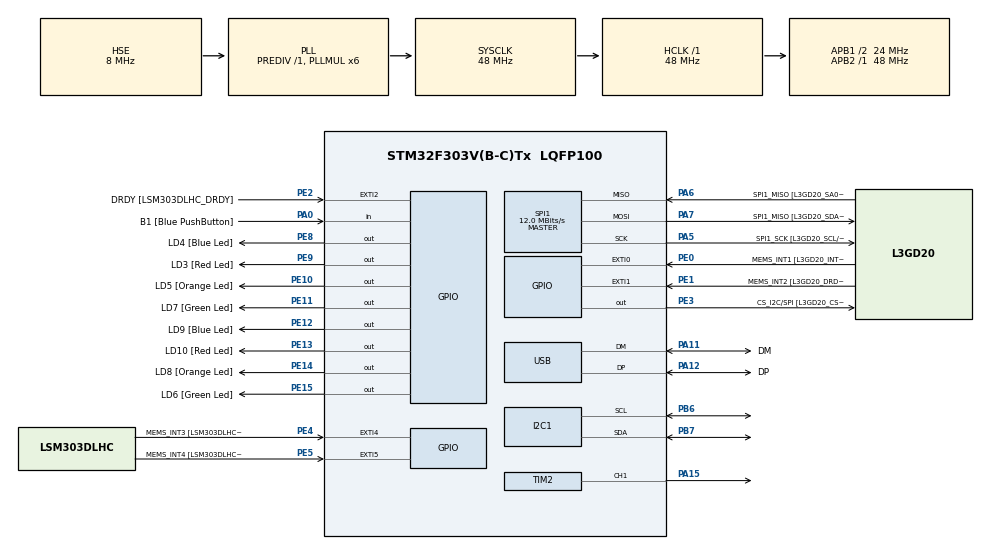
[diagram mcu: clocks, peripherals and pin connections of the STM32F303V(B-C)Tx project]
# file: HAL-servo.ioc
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I2C1.Timing=0x00201D2B
Mcu.Family=STM32F3
Mcu.Name=STM32F303V(B-C)Tx
Mcu.Package=LQFP100
NVIC.PriorityGroup=NVIC_PRIORITYGROUP_0
PA0.GPIO_Label=B1 [Blue PushButton]
PA0.Signal=GPIO_Input
PA11.GPIO_Label=DM
PA11.Mode=Device
PA11.Signal=USB_DM
PA12.GPIO_Label=DP
PA12.Mode=Device
PA12.Signal=USB_DP
PA13.GPIO_Label=SWDIO
PA13.Mode=Serial_Wire
PA13.Signal=SYS_JTMS-SWDIO
PA14.GPIO_Label=SWCLK
PA14.Mode=Serial_Wire
PA14.Signal=SYS_JTCK-SWCLK
PA15.Signal=S_TIM2_CH1_ETR
PA5.GPIO_Label=SPI1_SCK [L3GD20_SCL/SPC]
PA5.Mode=Full_Duplex_Master
PA5.Signal=SPI1_SCK
PA6.GPIO_Label=SPI1_MISO [L3GD20_SA0/SDO]
PA6.Mode=Full_Duplex_Master
PA6.Signal=SPI1_MISO
PA7.GPIO_Label=SPI1_MISO [L3GD20_SDA/SDI/SDO]
PA7.Mode=Full_Duplex_Master
PA7.Signal=SPI1_MOSI
PB3.GPIO_Label=SWO
PB3.Signal=SYS_JTDO-TRACESWO
PB6.Mode=I2C
PB6.Signal=I2C1_SCL
PB7.Mode=I2C
PB7.Signal=I2C1_SDA
PC14-OSC32_IN.GPIO_Label=OSC32_IN
PC14-OSC32_IN.Signal=RCC_OSC32_IN
PC15-OSC32_OUT.GPIO_Label=OSC32_OUT
PC15-OSC32_OUT.Signal=RCC_OSC32_OUT
PE0.GPIO_Label=MEMS_INT1 [L3GD20_INT1]
PE0.GPIO_ModeDefaultEXTI=GPIO_MODE_EVT_RISING
PE0.Signal=GPXTI0
PE1.GPIO_Label=MEMS_INT2 [L3GD20_DRDY/INT2]
PE1.GPIO_ModeDefaultEXTI=GPIO_MODE_EVT_RISING
PE1.Signal=GPXTI1
PE10.GPIO_Label=LD5 [Orange Led]
PE10.Signal=GPIO_Output
PE11.GPIO_Label=LD7 [Green Led]
PE11.Signal=GPIO_Output
PE12.GPIO_Label=LD9 [Blue Led]
PE12.Signal=GPIO_Output
PE13.GPIO_Label=LD10 [Red Led]
PE13.Signal=GPIO_Output
PE14.GPIO_Label=LD8 [Orange Led]
PE14.Signal=GPIO_Output
PE15.GPIO_Label=LD6 [Green Led]
PE15.Signal=GPIO_Output
PE2.GPIO_Label=DRDY [LSM303DLHC_DRDY]
PE2.GPIO_ModeDefaultEXTI=GPIO_MODE_EVT_RISING
PE2.Signal=GPXTI2
PE3.GPIO_Label=CS_I2C/SPI [L3GD20_CS_I2C/SPI]
PE3.Signal=GPIO_Output
PE4.GPIO_Label=MEMS_INT3 [LSM303DLHC_INT1]
PE4.GPIO_ModeDefaultEXTI=GPIO_MODE_EVT_RISING
PE4.Signal=GPXTI4
PE5.GPIO_Label=MEMS_INT4 [LSM303DLHC_INT2]
PE5.GPIO_ModeDefaultEXTI=GPIO_MODE_EVT_RISING
PE5.Signal=GPXTI5
PE8.GPIO_Label=LD4 [Blue Led]
PE8.Signal=GPIO_Output
PE9.GPIO_Label=LD3 [Red Led]
PE9.Signal=GPIO_Output
PF0-OSC_IN.GPIO_Label=OSC_IN
PF0-OSC_IN.Mode=HSE-External-Clock-Source
PF0-OSC_IN.Signal=RCC_OSC_IN
PF1-OSC_OUT.GPIO_Label=OSC_OUT
PF1-OSC_OUT.Signal=RCC_OSC_OUT
ProjectManager.HeapSize=0x200
ProjectManager.StackSize=0x400
ProjectManager.TargetToolchain=STM32CubeIDE
RCC.AHBFreq_Value=48000000
RCC.APB1CLKDivider=RCC_HCLK_DIV2
RCC.APB1Freq_Value=24000000
RCC.APB1TimFreq_Value=48000000
RCC.APB2Freq_Value=48000000
RCC.APB2TimFreq_Value=48000000
RCC.CortexFreq_Value=48000000
RCC.HCLKFreq_Value=48000000
RCC.HSE_VALUE=8000000
RCC.HSI_VALUE=8000000
RCC.LSE_VALUE=32768
RCC.PLLMUL=RCC_PLL_MUL6
RCC.SYSCLKFreq_VALUE=48000000
RCC.SYSCLKSourceVirtual=RCC_SYSCLKSOURCE_PLLCLK
RCC.USBFreq_Value=48000000
SH.S_TIM2_CH1_ETR.0=TIM2_CH1,PWM Generation1 CH1
SPI1.BaudRatePrescaler=SPI_BAUDRATEPRESCALER_4
SPI1.BaudRatePrescaler-Full_Duplex_Master=SPI_BAUDRATEPRESCALER_2
SPI1.CalculateBaudRate=12.0 MBits/s
SPI1.CalculateBaudRate-Full_Duplex_Master=24.0 MBits/s
SPI1.Direction=SPI_DIRECTION_2LINES
SPI1.Mode=SPI_MODE_MASTER
SPI1.Mode-Full_Duplex_Master=SPI_MODE_MASTER
SPI1.VirtualType=VM_MASTER
TIM2.Channel-PWM\ Generation1\ CH1=TIM_CHANNEL_1
TIM2.Prescaler=23
board=STM32F3DISCOVERY

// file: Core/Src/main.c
/* USER CODE BEGIN Header */
/**
  ******************************************************************************
  * @file           : main.c
  * @brief          : Main program body
  ******************************************************************************
  * @attention
  *
  * Copyright (c) 2025 STMicroelectronics.
  * All rights reserved.
  *
  * This software is licensed under terms that can be found in the LICENSE file
  * in the root directory of this software component.
  * If no LICENSE file comes with this software, it is provided AS-IS.
  *
  ******************************************************************************
  */
/* USER CODE END Header */
#include "main.h"

/* USER CODE BEGIN Includes */

#include "math.h"
#include <stdint.h>
#include <stdlib.h>
#include <stdio.h>
#include <stdbool.h>
#include <string.h>

// Noah's files
#include "stm32f303xc.h"
#include "midi_note_data.h"
#include "servo_driver_obj.h"
#include "door_obj.h"
#include "door_manager_obj.h"
#include "utils.h"
#include "GPIO.h"

// Josh's files
#include "gpio_new.h"
#include "serial_josh.h"
#include "structs.h"
#include "timer_josh.h"
/* USER CODE END Includes */

I2C_HandleTypeDef hi2c1;

SPI_HandleTypeDef hspi1;

TIM_HandleTypeDef htim2;

PCD_HandleTypeDef hpcd_USB_FS;

void SystemClock_Config(void);
static void MX_GPIO_Init(void);
static void MX_I2C1_Init(void);
static void MX_SPI1_Init(void);
static void MX_USB_PCD_Init(void);
static void MX_TIM2_Init(void);

/* USER CODE BEGIN 0 */

// =================================== Global Variables ====================================
volatile int last_servo_selection = -1;
volatile int last_servo_angle = -1;

// --- Game State Variables ---
GameState game = {
    .correct_servos = {1, 3, 4, 6}, // do not use servo number 0
    .items_found = 0,
    .items_left_to_find = 4,
    .digs_taken = 0,
    .digs_remaining = 4,
    .peeks_used = 0,
    .game_time_remaining = 240,
    .game_over = 1,
    .total_items_to_find = 0
};

GameTriggers triggers = {
    .touchpad_pressed = -1,
    .magnet1_det = 0,
    .magnet2_det = 0,
    .servo_controlled = -1,
    .servo_angle = 0,
    .trimpot_value = 0,
    .peek_threshold = 10,
    .pending_peek = 0
};

doorManagerObj *manager;

// =================================== Game Functions ====================================
// Prints via UART game state
void transmit_game_state() {
    char buffer[64];
    sprintf(buffer, "DIGS REMAINING:%d TREASURES:%d\r\n\n", game.digs_remaining, game.items_left_to_find);
    serial_output_string(buffer, &USART1_PORT);
}

// Timer callback
static void fn_a(const TimerSel sel, GameState *game) {
	game->game_time_remaining = game->game_time_remaining - 1;
    char buffer[64];
    sprintf(buffer, "TIME REMAINING:%d\r\n", game->game_time_remaining);
    serial_output_string(buffer, &USART1_PORT);
}

// --- Start Game Signal (from USART or button) ---
void start_game(GameState *game) {
	// Restart game state
    game->game_over = 0;
    game->game_time_remaining = 240;
    game->digs_remaining = 4;

    int count = 0;
    for (int i = 0; i < 6; i++) {
        if (game->correct_servos[i] != 0) {
            count++;
        }
    }
    game->total_items_to_find = count;

    // Reset all doors
    door_manager_reset(manager);

    // Init game timer
    timer_init();
    const TimerSel tim_a = TIMER_SEL_3;
    timer_prescaler_set(tim_a, 11999);
    timer_period_set(tim_a, 3999);
    timer_silent_set(tim_a, false);
    timer_recur_set(tim_a, true);
    timer_callback_set(tim_a, &fn_a);
    timer_enable_set(tim_a, true);

    serial_output_string("Game Started\r\n\n", &USART1_PORT);

    transmit_game_state();

}

// Game variable update function
void update_game_state(uint8_t result, GameState *game, GameTriggers *triggers) {
	// Update game state depending if successful dig
	if (result == 1) {
		game->items_found++;
		game->digs_remaining--;
		game->digs_taken--;
		game->items_left_to_find--;
		transmit_game_state();
	} else {
		game->digs_remaining--;
		game->digs_taken--;
		transmit_game_state();
	}
}

//Check for game over conditions
uint8_t check_game_over(GameState *game) {
    if (game->digs_remaining == 0 || game->game_time_remaining == 0 || game->items_left_to_find == 0) {
  	    const TimerSel tim_a = TIMER_SEL_3;

  	    if (game->items_left_to_find == 0) {
      	  	timer_enable_set(tim_a, false);

      		serial_output_string((char *) "You Win!\n", &USART1_PORT);

      	}
      	else {
      	  	timer_enable_set(tim_a, false);

      		serial_output_string((char *) "Game Over\n", &USART1_PORT);
      	}

      	display_number(0);
        game->game_over = 1;
        //timer_disable();
        return 1;
    }
    return 0;
}
/*
bool pad_dug[6] = { false };

...

if (pad_dug[triggers.servo_controlled]) {
    serial_output_string("Pad already dug\r\n", &USART1_PORT);
    return;
}

pad_dug[triggers.servo_controlled] = true;
*/
// =================================== Callback Functions ===================================

// Each EXTI handler calls this with the corresponding pin number
void handle_touch(uint8_t pad, GameTriggers *trigger) {
	display_number(pad);
	trigger->touchpad_pressed = pad;
}

// Transmit callback
void output_callback() {
	return;
}

// Receive callback
void input_callback(char *data, uint32_t len) {
	// Check for game start input
	char compare[] = "game start";
	uint16_t test = strcmp(data, compare);
	if (!test) {
		start_game(&game);
	}
}

/* USER CODE END 0 */

int main(void)
{

  /* MCU Configuration--------------------------------------------------------*/

  /* Reset of all peripherals, Initializes the Flash interface and the Systick. */
  HAL_Init();

  /* Configure the system clock */
  SystemClock_Config();

  /* Initialize all configured peripherals */
  MX_GPIO_Init();
  MX_I2C1_Init();
  MX_SPI1_Init();
  MX_USB_PCD_Init();
  MX_TIM2_Init();

  /* USER CODE BEGIN 2 */

  // =================================== Init ====================================
  // Serial Init
  serial_initialise(115200, &USART1_PORT, &output_callback, &input_callback);
  enable_interrupts(&USART1_PORT);

  // Touch Init
  initialise_touch();
  enable_touch_interrupts();
  touch_register_callback((touch_callback_t)handle_touch, &triggers);

  GPIO *pot = init_port(PORT_A, ANALOG, 4, 6);
  uint16_t analog_out[2];

/*
  initialise_touch();
  enable_touch_interrupts();
  touch_register_callback(&handle_touch);

  GPIO *pot = init_port(A, ANALOG, 4, 6);
  uint16_t analog_out[2];
*/

  //Init servo-driver
  servoDriverObj *driver = init_servo_driver(0x40);

  float master_angle = 0.0f;
  //manager was initialized eariler (for touch_pad handler to reference)
  manager = init_door_manager(8, &master_angle, driver, 8);

  //Servo ROM test
  door_manager_set_angle(manager, 0, 80.0f);
  door_manager_set_angle(manager, 1, 80.0f);
  door_manager_update(manager);
  HAL_Delay(500);

  door_manager_set_angle(manager, 0, 0.0f);
  door_manager_set_angle(manager, 1, 0.0f);
  door_manager_update(manager);
  HAL_Delay(1000);

  const float SPEED = 1.2;
  const int PAUSE = 20;

  /* USER CODE END 2 */

  /* Infinite loop */
  /* USER CODE BEGIN WHILE */

  // =================================== Game Loop ====================================
  while (1)
 {
  	// Wait for game start
  	if (game.game_over) {
  		continue;
  	}

  	int check = check_game_over(&game);
  	if (check == 1) {
  		continue;
  	}

    if (triggers.touchpad_pressed != -1) {
    	triggers.servo_controlled = triggers.touchpad_pressed;
        transmit_game_state();

        char buffer[64];
        sprintf(buffer, "touchpad %d chosen, door %d being controlled!\r\n", triggers.touchpad_pressed,  triggers.servo_controlled);
        serial_output_string(buffer, &USART1_PORT);

        if (triggers.servo_controlled != -1 && triggers.servo_controlled != last_servo_selection) {

        	// Run peek loop for short time
        	uint32_t peek_start = HAL_GetTick();
        	bool committed_dig = false;

        	while (HAL_GetTick() - peek_start < 2000) {
        		/*
        		read_pins_analog(pot, analog_out);

        	    master_angle = map_range((float)analog_out[1], 0.0f, 4095.0f, 0.0f, 80.0f);

        	    door_manager_update(manager);

        	    float trimpot = map_range((float)analog_out[0], 0.0f, 4095.0f, 0.0f, 100.0f);
				*/
        		float trimpot = 11;
        	    if (trimpot >= triggers.peek_threshold) {
        	    	 committed_dig = true;
        	         break;
        	    }
          	}
        	// Now process peek or dig
        	if (committed_dig) {
        		// Dig
        	    bool success = false;
        	    for (int i = 0; i < 6; i++) {
        	    	if (game.correct_servos[i] == triggers.servo_controlled) {
        	    		success = true;
        	            break;
        	        }
        	    }

        	    update_game_state(success ? 1 : 0, &game, &triggers);
        	    char idk[64];
        	    sprintf(idk, "DIG %s at pad %d\r\n\n", success ? "SUCCESS" : "FAIL", triggers.servo_controlled);
        	    serial_output_string(idk, &USART1_PORT);

             } else {
            	 game.peeks_used++;
           		 serial_output_string((char *) "PEEK ONLY\r\n\n", &USART1_PORT);

             }

        	 triggers.touchpad_pressed = -1;
        	 last_servo_selection = triggers.servo_controlled;
        	 triggers.servo_controlled = -1;

        	 char yes[64];
        	 sprintf(yes, "touchpad reset to %d, servo %d, previous servo %d\r\n\n", triggers.touchpad_pressed, triggers.servo_controlled, last_servo_selection);
        	 serial_output_string(yes, &USART1_PORT);
         }
     }
	  /* USER CODE END WHILE */
  }
  /* USER CODE END 3 */
}

void SystemClock_Config(void)
{
  RCC_OscInitTypeDef RCC_OscInitStruct = {0};
  RCC_ClkInitTypeDef RCC_ClkInitStruct = {0};
  RCC_PeriphCLKInitTypeDef PeriphClkInit = {0};

  /** Initializes the RCC Oscillators according to the specified parameters
  * in the RCC_OscInitTypeDef structure.
  */
  RCC_OscInitStruct.OscillatorType = RCC_OSCILLATORTYPE_HSI|RCC_OSCILLATORTYPE_HSE;
  RCC_OscInitStruct.HSEState = RCC_HSE_BYPASS;
  RCC_OscInitStruct.HSEPredivValue = RCC_HSE_PREDIV_DIV1;
  RCC_OscInitStruct.HSIState = RCC_HSI_ON;
  RCC_OscInitStruct.HSICalibrationValue = RCC_HSICALIBRATION_DEFAULT;
  RCC_OscInitStruct.PLL.PLLState = RCC_PLL_ON;
  RCC_OscInitStruct.PLL.PLLSource = RCC_PLLSOURCE_HSE;
  RCC_OscInitStruct.PLL.PLLMUL = RCC_PLL_MUL6;
  if (HAL_RCC_OscConfig(&RCC_OscInitStruct) != HAL_OK)
  {
    Error_Handler();
  }

  /** Initializes the CPU, AHB and APB buses clocks
  */
  RCC_ClkInitStruct.ClockType = RCC_CLOCKTYPE_HCLK|RCC_CLOCKTYPE_SYSCLK
                              |RCC_CLOCKTYPE_PCLK1|RCC_CLOCKTYPE_PCLK2;
  RCC_ClkInitStruct.SYSCLKSource = RCC_SYSCLKSOURCE_PLLCLK;
  RCC_ClkInitStruct.AHBCLKDivider = RCC_SYSCLK_DIV1;
  RCC_ClkInitStruct.APB1CLKDivider = RCC_HCLK_DIV2;
  RCC_ClkInitStruct.APB2CLKDivider = RCC_HCLK_DIV1;

  if (HAL_RCC_ClockConfig(&RCC_ClkInitStruct, FLASH_LATENCY_1) != HAL_OK)
  {
    Error_Handler();
  }
  PeriphClkInit.PeriphClockSelection = RCC_PERIPHCLK_USB|RCC_PERIPHCLK_I2C1;
  PeriphClkInit.I2c1ClockSelection = RCC_I2C1CLKSOURCE_HSI;
  PeriphClkInit.USBClockSelection = RCC_USBCLKSOURCE_PLL;
  if (HAL_RCCEx_PeriphCLKConfig(&PeriphClkInit) != HAL_OK)
  {
    Error_Handler();
  }
}

static void MX_I2C1_Init(void)
{

  hi2c1.Instance = I2C1;
  hi2c1.Init.Timing = 0x00201D2B;
  hi2c1.Init.OwnAddress1 = 0;
  hi2c1.Init.AddressingMode = I2C_ADDRESSINGMODE_7BIT;
  hi2c1.Init.DualAddressMode = I2C_DUALADDRESS_DISABLE;
  hi2c1.Init.OwnAddress2 = 0;
  hi2c1.Init.OwnAddress2Masks = I2C_OA2_NOMASK;
  hi2c1.Init.GeneralCallMode = I2C_GENERALCALL_DISABLE;
  hi2c1.Init.NoStretchMode = I2C_NOSTRETCH_DISABLE;
  if (HAL_I2C_Init(&hi2c1) != HAL_OK)
  {
    Error_Handler();
  }

  /** Configure Analogue filter
  */
  if (HAL_I2CEx_ConfigAnalogFilter(&hi2c1, I2C_ANALOGFILTER_ENABLE) != HAL_OK)
  {
    Error_Handler();
  }

  /** Configure Digital filter
  */
  if (HAL_I2CEx_ConfigDigitalFilter(&hi2c1, 0) != HAL_OK)
  {
    Error_Handler();
  }

}

static void MX_SPI1_Init(void)
{

  /* SPI1 parameter configuration*/
  hspi1.Instance = SPI1;
  hspi1.Init.Mode = SPI_MODE_MASTER;
  hspi1.Init.Direction = SPI_DIRECTION_2LINES;
  hspi1.Init.DataSize = SPI_DATASIZE_4BIT;
  hspi1.Init.CLKPolarity = SPI_POLARITY_LOW;
  hspi1.Init.CLKPhase = SPI_PHASE_1EDGE;
  hspi1.Init.NSS = SPI_NSS_SOFT;
  hspi1.Init.BaudRatePrescaler = SPI_BAUDRATEPRESCALER_4;
  hspi1.Init.FirstBit = SPI_FIRSTBIT_MSB;
  hspi1.Init.TIMode = SPI_TIMODE_DISABLE;
  hspi1.Init.CRCCalculation = SPI_CRCCALCULATION_DISABLE;
  hspi1.Init.CRCPolynomial = 7;
  hspi1.Init.CRCLength = SPI_CRC_LENGTH_DATASIZE;
  hspi1.Init.NSSPMode = SPI_NSS_PULSE_ENABLE;
  if (HAL_SPI_Init(&hspi1) != HAL_OK)
  {
    Error_Handler();
  }

}

static void MX_TIM2_Init(void)
{

  TIM_MasterConfigTypeDef sMasterConfig = {0};
  TIM_OC_InitTypeDef sConfigOC = {0};

  htim2.Instance = TIM2;
  htim2.Init.Prescaler = 23;
  htim2.Init.CounterMode = TIM_COUNTERMODE_UP;
  htim2.Init.Period = 4294967295;
  htim2.Init.ClockDivision = TIM_CLOCKDIVISION_DIV1;
  htim2.Init.AutoReloadPreload = TIM_AUTORELOAD_PRELOAD_DISABLE;
  if (HAL_TIM_PWM_Init(&htim2) != HAL_OK)
  {
    Error_Handler();
  }
  sMasterConfig.MasterOutputTrigger = TIM_TRGO_RESET;
  sMasterConfig.MasterSlaveMode = TIM_MASTERSLAVEMODE_DISABLE;
  if (HAL_TIMEx_MasterConfigSynchronization(&htim2, &sMasterConfig) != HAL_OK)
  {
    Error_Handler();
  }
  sConfigOC.OCMode = TIM_OCMODE_PWM1;
  sConfigOC.Pulse = 0;
  sConfigOC.OCPolarity = TIM_OCPOLARITY_HIGH;
  sConfigOC.OCFastMode = TIM_OCFAST_DISABLE;
  if (HAL_TIM_PWM_ConfigChannel(&htim2, &sConfigOC, TIM_CHANNEL_1) != HAL_OK)
  {
    Error_Handler();
  }
  HAL_TIM_MspPostInit(&htim2);

}

static void MX_USB_PCD_Init(void)
{

  hpcd_USB_FS.Instance = USB;
  hpcd_USB_FS.Init.dev_endpoints = 8;
  hpcd_USB_FS.Init.speed = PCD_SPEED_FULL;
  hpcd_USB_FS.Init.phy_itface = PCD_PHY_EMBEDDED;
  hpcd_USB_FS.Init.low_power_enable = DISABLE;
  hpcd_USB_FS.Init.battery_charging_enable = DISABLE;
  if (HAL_PCD_Init(&hpcd_USB_FS) != HAL_OK)
  {
    Error_Handler();
  }

}

static void MX_GPIO_Init(void)
{
  GPIO_InitTypeDef GPIO_InitStruct = {0};

  /* GPIO Ports Clock Enable */
  __HAL_RCC_GPIOE_CLK_ENABLE();
  __HAL_RCC_GPIOC_CLK_ENABLE();
  __HAL_RCC_GPIOF_CLK_ENABLE();
  __HAL_RCC_GPIOA_CLK_ENABLE();
  __HAL_RCC_GPIOB_CLK_ENABLE();

  /*Configure GPIO pin Output Level */
  HAL_GPIO_WritePin(GPIOE, CS_I2C_SPI_Pin|LD4_Pin|LD3_Pin|LD5_Pin
                          |LD7_Pin|LD9_Pin|LD10_Pin|LD8_Pin
                          |LD6_Pin, GPIO_PIN_RESET);

  /*Configure GPIO pins : DRDY_Pin MEMS_INT3_Pin MEMS_INT4_Pin MEMS_INT1_Pin
                           MEMS_INT2_Pin */
  GPIO_InitStruct.Pin = DRDY_Pin|MEMS_INT3_Pin|MEMS_INT4_Pin|MEMS_INT1_Pin
                          |MEMS_INT2_Pin;
  GPIO_InitStruct.Mode = GPIO_MODE_EVT_RISING;
  GPIO_InitStruct.Pull = GPIO_NOPULL;
  HAL_GPIO_Init(GPIOE, &GPIO_InitStruct);

  /*Configure GPIO pins : CS_I2C_SPI_Pin LD4_Pin LD3_Pin LD5_Pin
                           LD7_Pin LD9_Pin LD10_Pin LD8_Pin
                           LD6_Pin */
  GPIO_InitStruct.Pin = CS_I2C_SPI_Pin|LD4_Pin|LD3_Pin|LD5_Pin
                          |LD7_Pin|LD9_Pin|LD10_Pin|LD8_Pin
                          |LD6_Pin;
  GPIO_InitStruct.Mode = GPIO_MODE_OUTPUT_PP;
  GPIO_InitStruct.Pull = GPIO_NOPULL;
  GPIO_InitStruct.Speed = GPIO_SPEED_FREQ_LOW;
  HAL_GPIO_Init(GPIOE, &GPIO_InitStruct);

  /*Configure GPIO pin : B1_Pin */
  GPIO_InitStruct.Pin = B1_Pin;
  GPIO_InitStruct.Mode = GPIO_MODE_INPUT;
  GPIO_InitStruct.Pull = GPIO_NOPULL;
  HAL_GPIO_Init(B1_GPIO_Port, &GPIO_InitStruct);

}

void Error_Handler(void)
{
  __disable_irq();
  while (1)
  {
  }
}
